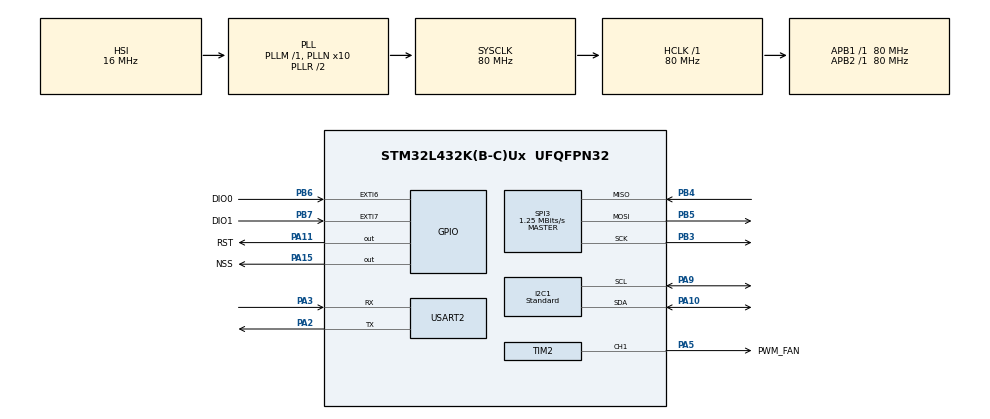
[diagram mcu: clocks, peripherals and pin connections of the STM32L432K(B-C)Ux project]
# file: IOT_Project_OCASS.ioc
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I2C1.I2C_Speed_Mode=I2C_Standard
I2C1.Speed=100
I2C1.Timing=0x10909CEC
Mcu.Family=STM32L4
Mcu.Name=STM32L432K(B-C)Ux
Mcu.Package=UFQFPN32
NVIC.EXTI9_5_IRQn=true\:0\:0\:false\:false\:true\:true\:true\:true
NVIC.PriorityGroup=NVIC_PRIORITYGROUP_4
NVIC.TIM7_IRQn=true\:0\:0\:false\:false\:true\:true\:true\:true
PA10.Mode=I2C
PA10.Signal=I2C1_SDA
PA11.GPIO_Label=RST
PA11.Signal=GPIO_Output
PA13\ (JTMS-SWDIO).Mode=Serial_Wire
PA13\ (JTMS-SWDIO).Signal=SYS_JTMS-SWDIO
PA14\ (JTCK-SWCLK).Mode=Serial_Wire
PA14\ (JTCK-SWCLK).Signal=SYS_JTCK-SWCLK
PA15\ (JTDI).GPIO_Label=NSS
PA15\ (JTDI).Signal=GPIO_Output
PA2.Mode=Asynchronous
PA2.Signal=USART2_TX
PA3.Mode=Asynchronous
PA3.Signal=USART2_RX
PA5.GPIO_Label=PWM_FAN
PA5.Signal=S_TIM2_CH1
PA9.Mode=I2C
PA9.Signal=I2C1_SCL
PB3\ (JTDO-TRACESWO).Mode=Full_Duplex_Master
PB3\ (JTDO-TRACESWO).Signal=SPI3_SCK
PB4\ (NJTRST).Mode=Full_Duplex_Master
PB4\ (NJTRST).Signal=SPI3_MISO
PB5.Mode=Full_Duplex_Master
PB5.Signal=SPI3_MOSI
PB6.GPIO_Label=DIO0
PB6.Signal=GPXTI6
PB7.GPIO_Label=DIO1
PB7.Signal=GPXTI7
PC14-OSC32_IN\ (PC14).Mode=LSE-External-Oscillator
PC14-OSC32_IN\ (PC14).Signal=RCC_OSC32_IN
PC15-OSC32_OUT\ (PC15).Mode=LSE-External-Oscillator
PC15-OSC32_OUT\ (PC15).Signal=RCC_OSC32_OUT
ProjectManager.HeapSize=0x200
ProjectManager.StackSize=0x400
ProjectManager.TargetToolchain=STM32CubeIDE
RCC.ADCCLockSelection=RCC_ADCCLKSOURCE_SYSCLK
RCC.ADCFreq_Value=80000000
RCC.AHBFreq_Value=80000000
RCC.APB1Freq_Value=80000000
RCC.APB1TimFreq_Value=80000000
RCC.APB2Freq_Value=80000000
RCC.APB2TimFreq_Value=80000000
RCC.CortexFreq_Value=80000000
RCC.HCLKFreq_Value=80000000
RCC.HSE_VALUE=8000000
RCC.HSI48_VALUE=48000000
RCC.HSI_VALUE=16000000
RCC.MSI_VALUE=4000000
RCC.PLLN=10
RCC.PLLSourceVirtual=RCC_PLLSOURCE_HSI
RCC.SYSCLKFreq_VALUE=80000000
RCC.SYSCLKSource=RCC_SYSCLKSOURCE_PLLCLK
RCC.USBFreq_Value=64000000
RCC.VCOOutputFreq_Value=160000000
SH.S_TIM2_CH1.0=TIM2_CH1,PWM Generation1 CH1
SPI3.BaudRatePrescaler=SPI_BAUDRATEPRESCALER_64
SPI3.CalculateBaudRate=1.25 MBits/s
SPI3.DataSize=SPI_DATASIZE_8BIT
SPI3.Direction=SPI_DIRECTION_2LINES
SPI3.Mode=SPI_MODE_MASTER
SPI3.VirtualType=VM_MASTER
TIM2.Channel-PWM\ Generation1\ CH1=TIM_CHANNEL_1
TIM2.Period=160000-1
TIM7.Prescaler=2500-1
USART2.VirtualMode-Asynchronous=VM_ASYNC
VP_TIM2_VS_ClockSourceINT.Mode=Internal
VP_TIM7_VS_ClockSourceINT.Mode=Enable_Timer
board=custom

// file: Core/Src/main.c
/* USER CODE BEGIN Header */
/**
  ******************************************************************************
  * @file           : main.c
  * @brief          : Main program body
  ******************************************************************************
  * @attention
  *
  * Copyright (c) 2024 STMicroelectronics.
  * All rights reserved.
  *
  * This software is licensed under terms that can be found in the LICENSE file
  * in the root directory of this software component.
  * If no LICENSE file comes with this software, it is provided AS-IS.
  *
  ******************************************************************************
  */
/* USER CODE END Header */
#include "main.h"
#include "i2c.h"
#include "spi.h"
#include "tim.h"
#include "usart.h"
#include "gpio.h"

/* USER CODE BEGIN Includes */
#include "stdbool.h"
#include "debug.h"
#include "hal.h"
#include "lmic.h"
#include "lorabase.h"
#include "oslmic.h"
#include "cayenne_lpp.h"
#include <bme680/bme68x_necessary_functions.h>

/* USER CODE END Includes */

/* USER CODE BEGIN PD */
#define max_speed_counter_value 160000
#define minMotorSpeedPercentage 60
/* USER CODE END PD */

/* USER CODE BEGIN PV */
/* Private variables ---------------------------------------------------------*/

// application router ID (LSBF) < ------- IMPORTANT
static const u1_t APPEUI[8] = {0x26, 0x41, 0x85, 0x75, 0x47, 0x65, 0x32, 0x72};
//old { 0x00, 0x00, 0x00, 0x00, 0x00, 0x00, 0x00, 0x00 };//IMPORT FROM TTN

// unique device ID (LSBF) < ------- IMPORTANT
static const u1_t DEVEUI[8] = {0xAC, 0xCE, 0x06, 0xD0, 0x7E, 0xD5, 0xB3, 0x70};
//old { 0x7F, 0xCB, 0x06, 0xD0, 0x7E, 0xD5, 0xB3, 0x70 };//CREATE RANDOM NUMBER

// device-specific AES key (derived from device EUI (MSBF))
static const u1_t DEVKEY[16] = {0x4D, 0x55, 0xCE, 0x1B, 0x4D, 0x7F, 0x01, 0x3B, 0x8A, 0x98, 0x6F, 0xDB, 0x04, 0x24, 0x8D, 0xD1};
//old { 0x25, 0x00, 0x7B, 0x76, 0x3D, 0x5C, 0xD4, 0x28, 0x3D, 0xA6, 0x0B, 0x9A, 0xDA, 0x61, 0x48, 0x7E };//IMPORT FROM TTN
struct bme68x_data data;

int manual_fan_power = 0;
int manual_fan_value = 0;
int autonomous_fan_value = 0;
int autonomous_fan_power = 0;
int delay_between_transmission = 15;
int minIAQvalue = 50, maxIAQvalue = 300;

bool manual_fan_mode = false;

//APPEUI,DEVEUI must be copied from thethingsnetwork application datas in LSB format
//-----------------------------------------------------------------------------------------
/* USER CODE END PV */

void SystemClock_Config(void);

/* USER CODE BEGIN 0 */
// provide application router ID (8 bytes, LSBF)
void os_getArtEui (u1_t* buf) {
	memcpy(buf, APPEUI, 8);
}
// provide device ID (8 bytes, LSBF)
void os_getDevEui (u1_t* buf) {
	memcpy(buf, DEVEUI, 8);
}
// provide device key (16 bytes)
void os_getDevKey (u1_t* buf) {
	memcpy(buf, DEVKEY, 16);
}
void initsensor(){
// Here you init your sensors
	//HAL_ADCEx_Calibration_Start(&hadc1, ADC_SINGLE_ENDED);
	bme68x_start(&data, &hi2c1);//On start le bosch sensor TODO
}

int valueToSpeed(int value, int minSpeedPercentage)
{
		float minSpeed = max_speed_counter_value * (minSpeedPercentage / 100.0f);
		int speed = value * (max_speed_counter_value -minSpeed) / 100 + minSpeed;
		debug_int(speed);
		return speed;
}

int IAQtoSpeed(int minIAQ, int maxIAQ, int minSpeedPercentage)//with minSpeed goinf
{
	int IAQ = data.iaq_score;
	if(IAQ < minIAQ)
	{
		return 0;
	}
	else if(IAQ > maxIAQ)
	{
		return max_speed_counter_value;
	}
	else
	{
		float percent = (IAQ - minIAQ) * 100.0f / (maxIAQ - minIAQ);
		autonomous_fan_power = percent;
		/*float minSpeed = max_speed_counter_value * (minSpeedPercentage / 100.0f);
		int speed = percent * (max_speed_counter_value -minSpeed) / 100 + minSpeed;
		debug_int(speed);*/
		//return speed;
		return valueToSpeed(percent, minSpeedPercentage);
	}
}

void update_fan_speed()
{
	if(manual_fan_mode)
	{
		__HAL_TIM_SET_COMPARE(&htim2,TIM_CHANNEL_1, manual_fan_value);

	}
	else
	{
		//autonomous_fan_value = max_speed_counter_value;
		//__HAL_TIM_SET_COMPARE(&htim2,TIM_CHANNEL_1, autonomous_fan_power*max_speed_counter_value/100);
		__HAL_TIM_SET_COMPARE(&htim2,TIM_CHANNEL_1, autonomous_fan_value);

	}
}

void initfunc (osjob_t* j) {
	// intialize sensor hardware
	initsensor();
	HAL_TIM_PWM_Start(&htim2, TIM_CHANNEL_1);
	__HAL_TIM_SET_COMPARE(&htim2,TIM_CHANNEL_1, 0);
	update_fan_speed();
	// reset MAC state
	LMIC_reset();
	// start joining
	LMIC_startJoining();
	// init done - onEvent() callback will be invoked...
}

/*uint32_t get_ADC_value(ADC_HandleTypeDef hadc1, uint32_t channel)
{
	uint32_t adc_val = 0;
	HAL_ADCEx_Calibration_Start(&hadc1, ADC_SINGLE_ENDED);
	HAL_ADC_Start(&hadc1);
	HAL_ADC_PollForConversion(&hadc1, 100);
	adc_val = HAL_ADC_GetValue(&hadc1);
	return adc_val;
}*/
float GET_temperature(uint32_t ADC_value, double VDD){
	float TEMP_value = 0.0;
	float voltage = 0.0;
	// ADC value conversion into the corresponding voltage in Volts
	voltage = (ADC_value*VDD) /4095.0; // Float => Volts
	debug_int(voltage);
	debug_str("\r\n");

	// Temperature computing in °C
	// TEMP_value = ( (50.0-(-10.0))/(0.760-1.088)) *(voltage-1.088) *(voltage-1.088)+(-10.0) ;
	TEMP_value = (1034-voltage)/5.48;
	return TEMP_value;
}

void readBoschsensor(){
	//Il faut alimenter le capteur

	if (bme68x_single_measure(&data) == 0) {

			// Measurement is successful, so continue with IAQ
			data.iaq_score = bme68x_iaq(); // Calculate IAQ

			// Create a message buffer and clear it.
			char msgBuffer[120];
			for(uint16_t i = 0; i < 120; i++){
				msgBuffer[i] = ' ';
			}

			// Send the data through UART.
			/*sprintf(msgBuffer,
					"Temperature(deg C): %f, Pressure(Pa): %f, Humidity(%%): %f, IAQ: %f ,Gas resistance(ohm): %f\r\n",
					data.temperature, data.pressure, data.humidity,
					data.iaq_score, data.gas_resistance);
			*/
			debug_str("Temperature(deg C): ");
			debug_float2str(data.temperature, 5);
			debug_str("\r\nPressure(Pa):");
			debug_float2str(data.pressure, 8);
			debug_str("\r\nHumidity(%%):");
			debug_float2str(data.humidity, 8);
			debug_str("\r\nIAQ:");
			debug_float2str(data.iaq_score, 4);
			debug_str("\r\nGas resistance (Ohm):");
			debug_float2str(data.gas_resistance, 8);
			debug_str("\r\n");
			//HAL_USART_Transmit(&husart2, (uint8_t *) msgBuffer, sizeof(msgBuffer), 10);

		}

	return data.temperature;
}

/*float readtemperaturesensor(){
	//Il faut alimenter le capteur

	HAL_GPIO_WritePin(Alim_temp_GPIO_Port, Alim_temp_Pin, GPIO_PIN_SET);
	HAL_Delay(100);
	uint value = 0xDF; /// read from evrything ...make your own sensor
	HAL_ADC_Start(&hadc1);
	value = get_ADC_value(hadc1, ADC_CHANNEL_15);
	debug_str("Brut value:\n");
	debug_int(value);
	debug_str("\r\n");
	float temperature_sensor_value = GET_temperature(value, 3300);
	debug_valfloat("Temperature sensor value = ", temperature_sensor_value, 6);//6 doit etre le nbr de chiffres après la ,
	//On éteint le capteur
	HAL_GPIO_WritePin(Alim_temp_GPIO_Port, Alim_temp_Pin, GPIO_PIN_RESET);
	return temperature_sensor_value;
}*/

u2_t readsensor(){
	u2_t value = 0xDF; /// read from evrything ...make your own sensor
	return value;
}

static osjob_t reportjob;
// report sensor value every minute
static void reportfunc (osjob_t* j) {
	cayenne_lpp_t lpp = {0};

	// read sensor
	debug_str("\nRead Bosch Sensor\r\n");
	readBoschsensor();//readtemperaturesensor();
	//debug_valfloat("val = ", valuereport, 6);
	// prepare and schedule data for transmission
	cayenne_lpp_reset(&lpp);
	cayenne_lpp_add_barometric_pressure(&lpp, 0, data.pressure);//Pressure is the difference with 1 hPa and is modified at new on Datacake
	cayenne_lpp_add_luminosity(&lpp, 0, data.iaq_score);//was in analog output
	cayenne_lpp_add_temperature(&lpp, 0, data.temperature);
	cayenne_lpp_add_analog_output(&lpp, 0, data.humidity);

	autonomous_fan_value = IAQtoSpeed(minIAQvalue, maxIAQvalue, minMotorSpeedPercentage);//The motor start at  44% from 9V
	//debug_int(autonomous_fan_power);
	update_fan_speed();
	//cayenne_lpp_add_relative_humidity(&lpp, 0, data.temperature);
	//cayenne_lpp_add_temperature(&lpp, 0, data.iaq_score);

	LMIC_setTxData2(1, &lpp, 4*4, 0);

	/*LMIC.frame[0] = 0;//val << 8;//pas dans le mm sens que sur le diapo
	LMIC.frame[1] = 0x67;//val;
	valuereport = valuereport/100;
	LMIC.frame[2] = valuereport>>8;
	LMIC.frame[3] = valuereport;
	LMIC_setTxData2(1, LMIC.frame, 2, 0);*/
	// (port 1, 2 bytes, unconfirmed)
	// reschedule job in 60 seconds
	os_setTimedCallback(j, os_getTime()+sec2osticks(delay_between_transmission), reportfunc);//TODO reactivate
}

// counter
static int cnt = 0;
static osjob_t hellojob;
static void hellofunc (osjob_t* j) {
	// say hello
	debug_str("Hello World!\r\n");
	// log counter
	debug_val("cnt = ", cnt);
	// toggle LED
	debug_led (++cnt & 1);
	// reschedule job every second
	os_setTimedCallback(j, os_getTime()+sec2osticks(1), hellofunc);//TODO : Demander à Bernier
}

static osjob_t blinkjob;
static u1_t ledstate = 0;
static void blinkfunc (osjob_t* j) {
// toggle LED
ledstate = !ledstate;
debug_led (ledstate);
// reschedule blink job
os_setTimedCallback(j, os_getTime()+ms2osticks(1000), blinkfunc);
}

//////////////////////////////////////////////////
// LMIC EVENT CALLBACK
//////////////////////////////////////////////////
void onEvent (ev_t ev) {
	debug_event(ev);
	switch(ev) {
	// network joined, session established
		case EV_JOINING:
			debug_str("try joining\r\n");
			blinkfunc(&blinkjob);
			break;
		case EV_JOINED:
			// kick-off periodic sensor job
			debug_str("Joined\r\n");
			os_clearCallback(&blinkjob);
			debug_led (1);
			reportfunc(&reportjob);
			break;
		case EV_JOIN_FAILED:
			debug_str("join failed\r\n");
			break;
		case EV_SCAN_TIMEOUT:
			debug_str("EV_SCAN_TIMEOUT\r\n");
			break;
		case EV_BEACON_FOUND:
			debug_str("EV_BEACON_FOUND\r\n");
			break;
		case EV_BEACON_MISSED:
			debug_str("EV_BEACON_MISSED\r\n");
			break;
		case EV_BEACON_TRACKED:
			debug_str("EV_BEACON_TRACKED\r\n");
			break;
		case EV_RFU1:
			debug_str("EV_RFU1\r\n");
			break;
		case EV_REJOIN_FAILED:
			debug_str("EV_REJOIN_FAILED\r\n");
			break;
		case EV_TXCOMPLETE:
			debug_str("EV_TXCOMPLETE (includes waiting for RX windows)\r\n");
			if (LMIC.txrxFlags & TXRX_ACK)
				debug_str("Received ack\r\n");
			if (LMIC.dataLen) {
				debug_str("Received ");
				debug_valdec("Received bytes of payload : %d\r\n", LMIC.dataLen);
				debug_val("Data[0] =", LMIC.frame[LMIC.dataBeg]);
				debug_val("Data[max] =", LMIC.frame[LMIC.dataBeg+3]);
				debug_str("VOUS AVEZ UN MESSAGE DE TTN------------------------------------------------------------------------\r\n");

				if(LMIC.frame[LMIC.dataBeg] == 0xFF)
				{
					delay_between_transmission = LMIC.frame[LMIC.dataBeg + 1];
					minIAQvalue = 5*LMIC.frame[LMIC.dataBeg + 2];//We multiply by 5 to have a 0 to 500 range during the transmission
					maxIAQvalue = 5*LMIC.frame[LMIC.dataBeg + 3];
				}
				else
				{
					manual_fan_power = LMIC.frame[LMIC.dataBeg] & ~(1 << 7);
					manual_fan_value = valueToSpeed(manual_fan_power, minMotorSpeedPercentage);
					manual_fan_mode = ((LMIC.frame[LMIC.dataBeg] >> 7) & 1) == 1 ? false : true;//C'est inversé, en effet l'utilisateur choisit "Autonomous Mode" donc 1 signifie que manual mode est désactivé
					debug_str("fan power et manual mode :\r\n");
					debug_int(manual_fan_power);
					debug_str(" ");
					debug_int(manual_fan_mode);

					update_fan_speed();
				}

				//debug_led(LMIC.frame[LMIC.dataBeg]);
			}
			break;
		case EV_LOST_TSYNC:
			debug_str("EV_LOST_TSYNC\r\n");
			break;
		case EV_RESET:
			debug_str("EV_RESET\r\n");
			break;
		case EV_RXCOMPLETE:
			// data received in ping slot
			debug_str("EV_RXCOMPLETE\r\n");
			break;
		case EV_LINK_DEAD:
			debug_str("EV_LINK_DEAD\r\n");
			break;
		case EV_LINK_ALIVE:
			debug_str("EV_LINK_ALIVE\r\n");
			break;
		default:
			debug_str("Unknown event\r\n");
			break;
	}
}

/* USER CODE END 0 */

int main(void)
{

  /* MCU Configuration--------------------------------------------------------*/

  /* Reset of all peripherals, Initializes the Flash interface and the Systick. */
  HAL_Init();

  /* Configure the system clock */
  SystemClock_Config();

  /* Initialize all configured peripherals */
  MX_GPIO_Init();
  MX_SPI3_Init();
  MX_TIM7_Init();
  MX_I2C1_Init();
  MX_USART2_UART_Init();
  MX_TIM2_Init();
  /* USER CODE BEGIN 2 */
  HAL_TIM_Base_Start_IT(&htim7);   // <----------- change to your setup
  __HAL_SPI_ENABLE(&hspi3);        // <----------- change to your setup
  osjob_t initjob;
  // initialize runtime env
  os_init();
  // initialize debug library
  debug_init();
  // setup initial job
  //os_setCallback(&hellojob, hellofunc);   //slide 56 and 57
  os_setCallback(&initjob, initfunc);//Pour tester le capteur de temp on rajoute
  //os_setCallback(&reportjob, reportfunc);
  // execute scheduled jobs and events

  /*TEST DE L'UART
   *
   * char * msgBuffer = "Coucou les loulous";
  HAL_Delay(100);
  HAL_USART_Transmit(&husart2, (uint8_t *) msgBuffer, sizeof(msgBuffer), 10);*/

  debug_str("Coucou les loulous, c'est le début de votre aventure sur OCASS !\r\n");

  os_runloop();
  // (not reached)
  return 0;
  /* USER CODE END 2 */

  /* Infinite loop */
  /* USER CODE BEGIN WHILE */
  while (1)//On y rentre jamais
  {
    /* USER CODE END WHILE */

  }
}

void SystemClock_Config(void)
{
  RCC_OscInitTypeDef RCC_OscInitStruct = {0};
  RCC_ClkInitTypeDef RCC_ClkInitStruct = {0};

  /** Configure the main internal regulator output voltage
  */
  if (HAL_PWREx_ControlVoltageScaling(PWR_REGULATOR_VOLTAGE_SCALE1) != HAL_OK)
  {
    Error_Handler();
  }

  /** Initializes the RCC Oscillators according to the specified parameters
  * in the RCC_OscInitTypeDef structure.
  */
  RCC_OscInitStruct.OscillatorType = RCC_OSCILLATORTYPE_HSI;
  RCC_OscInitStruct.HSIState = RCC_HSI_ON;
  RCC_OscInitStruct.HSICalibrationValue = RCC_HSICALIBRATION_DEFAULT;
  RCC_OscInitStruct.PLL.PLLState = RCC_PLL_ON;
  RCC_OscInitStruct.PLL.PLLSource = RCC_PLLSOURCE_HSI;
  RCC_OscInitStruct.PLL.PLLM = 1;
  RCC_OscInitStruct.PLL.PLLN = 10;
  RCC_OscInitStruct.PLL.PLLP = RCC_PLLP_DIV7;
  RCC_OscInitStruct.PLL.PLLQ = RCC_PLLQ_DIV2;
  RCC_OscInitStruct.PLL.PLLR = RCC_PLLR_DIV2;
  if (HAL_RCC_OscConfig(&RCC_OscInitStruct) != HAL_OK)
  {
    Error_Handler();
  }

  /** Initializes the CPU, AHB and APB buses clocks
  */
  RCC_ClkInitStruct.ClockType = RCC_CLOCKTYPE_HCLK|RCC_CLOCKTYPE_SYSCLK
                              |RCC_CLOCKTYPE_PCLK1|RCC_CLOCKTYPE_PCLK2;
  RCC_ClkInitStruct.SYSCLKSource = RCC_SYSCLKSOURCE_PLLCLK;
  RCC_ClkInitStruct.AHBCLKDivider = RCC_SYSCLK_DIV1;
  RCC_ClkInitStruct.APB1CLKDivider = RCC_HCLK_DIV1;
  RCC_ClkInitStruct.APB2CLKDivider = RCC_HCLK_DIV1;

  if (HAL_RCC_ClockConfig(&RCC_ClkInitStruct, FLASH_LATENCY_4) != HAL_OK)
  {
    Error_Handler();
  }
}

void Error_Handler(void)
{
  __disable_irq();
  while (1)
  {
  }
}
